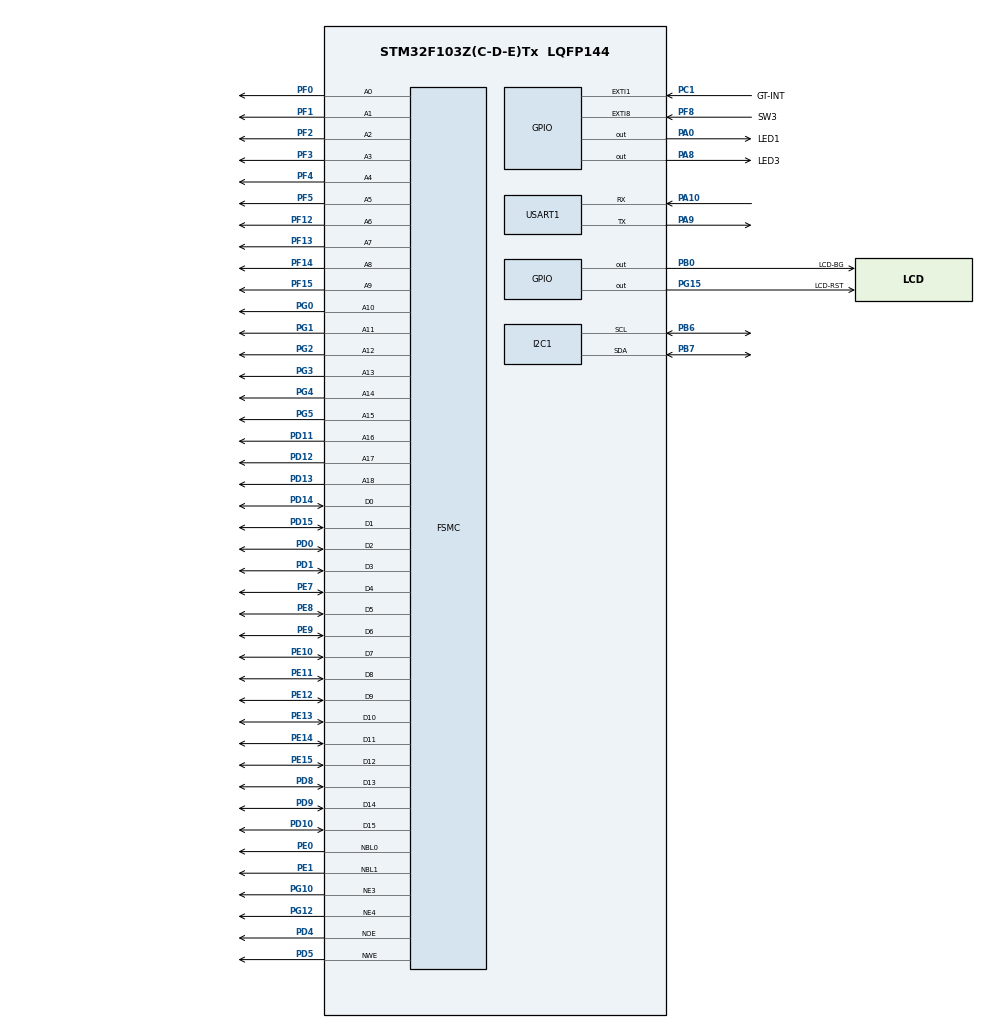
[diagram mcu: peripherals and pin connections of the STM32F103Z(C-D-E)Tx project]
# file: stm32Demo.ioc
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FSMC.AddressSetupTime2=1
FSMC.BusTurnAroundDuration2=0
FSMC.DataSetupTime2=4
FSMC.WriteOperation2=FSMC_WRITE_OPERATION_ENABLE
IWDG.Prescaler=IWDG_PRESCALER_256
IWDG.Reload=312
Mcu.Family=STM32F1
Mcu.Name=STM32F103Z(C-D-E)Tx
Mcu.Package=LQFP144
NVIC.EXTI1_IRQn=true\:0\:0\:false\:false\:true\:true\:true\:true
NVIC.EXTI9_5_IRQn=true\:0\:0\:false\:false\:true\:true\:true\:true
NVIC.PriorityGroup=NVIC_PRIORITYGROUP_4
NVIC.USART1_IRQn=true\:0\:0\:false\:false\:true\:true\:true\:true
OSC_IN.Mode=HSE-External-Oscillator
OSC_IN.Signal=RCC_OSC_IN
OSC_OUT.Mode=HSE-External-Oscillator
OSC_OUT.Signal=RCC_OSC_OUT
PA0-WKUP.GPIO_Label=LED1
PA0-WKUP.PinState=GPIO_PIN_SET
PA0-WKUP.Signal=GPIO_Output
PA10.Mode=Asynchronous
PA10.Signal=USART1_RX
PA13.Mode=Serial_Wire
PA13.Signal=SYS_JTMS-SWDIO
PA14.Mode=Serial_Wire
PA14.Signal=SYS_JTCK-SWCLK
PA8.GPIO_Label=LED3
PA8.PinState=GPIO_PIN_SET
PA8.Signal=GPIO_Output
PA9.Mode=Asynchronous
PA9.Signal=USART1_TX
PB0.GPIO_Label=LCD-BG
PB0.GPIO_PuPd=GPIO_NOPULL
PB0.Signal=GPIO_Output
PB6.Mode=I2C
PB6.Signal=I2C1_SCL
PB7.Mode=I2C
PB7.Signal=I2C1_SDA
PC1.GPIO_Label=GT-INT
PC1.GPIO_ModeDefaultEXTI=GPIO_MODE_IT_FALLING
PC1.GPIO_PuPd=GPIO_PULLUP
PC1.Signal=GPXTI1
PC14-OSC32_IN.Mode=LSE-External-Oscillator
PC14-OSC32_IN.Signal=RCC_OSC32_IN
PC15-OSC32_OUT.Mode=LSE-External-Oscillator
PC15-OSC32_OUT.Signal=RCC_OSC32_OUT
PD0.Signal=FSMC_D2_DA2
PD1.Signal=FSMC_D3_DA3
PD10.Signal=FSMC_D15_DA15
PD11.Signal=FSMC_A16_CLE
PD12.Signal=FSMC_A17_ALE
PD13.Signal=FSMC_A18
PD14.Signal=FSMC_D0_DA0
PD15.Signal=FSMC_D1_DA1
PD4.Signal=FSMC_NOE
PD5.Signal=FSMC_NWE
PD8.Signal=FSMC_D13_DA13
PD9.Signal=FSMC_D14_DA14
PE0.Signal=FSMC_NBL0
PE1.Signal=FSMC_NBL1
PE10.Signal=FSMC_D7_DA7
PE11.Signal=FSMC_D8_DA8
PE12.Signal=FSMC_D9_DA9
PE13.Signal=FSMC_D10_DA10
PE14.Signal=FSMC_D11_DA11
PE15.Signal=FSMC_D12_DA12
PE7.Signal=FSMC_D4_DA4
PE8.Signal=FSMC_D5_DA5
PE9.Signal=FSMC_D6_DA6
PF0.Signal=FSMC_A0
PF1.Signal=FSMC_A1
PF12.Signal=FSMC_A6
PF13.Signal=FSMC_A7
PF14.Signal=FSMC_A8
PF15.Signal=FSMC_A9
PF2.Signal=FSMC_A2
PF3.Signal=FSMC_A3
PF4.Signal=FSMC_A4
PF5.Signal=FSMC_A5
PF8.GPIO_Label=SW3
PF8.GPIO_ModeDefaultEXTI=GPIO_MODE_IT_FALLING
PF8.GPIO_PuPd=GPIO_PULLUP
PF8.Signal=GPXTI8
PG0.Signal=FSMC_A10
PG1.Signal=FSMC_A11
PG10.Mode=NorPsramChipSelect3_2
PG10.Signal=FSMC_NE3
PG12.Mode=NorPsramChipSelect4_1
PG12.Signal=FSMC_NE4
PG15.GPIO_Label=LCD-RST
PG15.GPIO_ModeDefaultOutputPP=GPIO_MODE_OUTPUT_PP
PG15.GPIO_PuPd=GPIO_PULLUP
PG15.Signal=GPIO_Output
PG2.Signal=FSMC_A12
PG3.Signal=FSMC_A13
PG4.Signal=FSMC_A14
PG5.Signal=FSMC_A15
ProjectManager.HeapSize=0x200
ProjectManager.StackSize=0x400
ProjectManager.TargetToolchain=CMake
RCC.AHBFreq_Value=72000000
RCC.APB1CLKDivider=RCC_HCLK_DIV2
RCC.APB1Freq_Value=36000000
RCC.APB1TimFreq_Value=72000000
RCC.APB2Freq_Value=72000000
RCC.APB2TimFreq_Value=72000000
RCC.HCLKFreq_Value=72000000
RCC.PLLMUL=RCC_PLL_MUL9
RCC.PLLSourceVirtual=RCC_PLLSOURCE_HSE
RCC.SYSCLKFreq_VALUE=72000000
RCC.SYSCLKSource=RCC_SYSCLKSOURCE_PLLCLK
RCC.USBFreq_Value=72000000
SH.FSMC_A0.0=FSMC_A0,19b-a2
SH.FSMC_A1.0=FSMC_A1,19b-a2
SH.FSMC_A10.0=FSMC_A10,A10_1
SH.FSMC_A10.1=FSMC_A10,19b-a2
SH.FSMC_A11.0=FSMC_A11,19b-a2
SH.FSMC_A12.0=FSMC_A12,19b-a2
SH.FSMC_A13.0=FSMC_A13,19b-a2
SH.FSMC_A14.0=FSMC_A14,19b-a2
SH.FSMC_A15.0=FSMC_A15,19b-a2
SH.FSMC_A16_CLE.0=FSMC_A16,19b-a2
SH.FSMC_A17_ALE.0=FSMC_A17,19b-a2
SH.FSMC_A18.0=FSMC_A18,19b-a2
SH.FSMC_A2.0=FSMC_A2,19b-a2
SH.FSMC_A3.0=FSMC_A3,19b-a2
SH.FSMC_A4.0=FSMC_A4,19b-a2
SH.FSMC_A5.0=FSMC_A5,19b-a2
SH.FSMC_A6.0=FSMC_A6,19b-a2
SH.FSMC_A7.0=FSMC_A7,19b-a2
SH.FSMC_A8.0=FSMC_A8,19b-a2
SH.FSMC_A9.0=FSMC_A9,19b-a2
SH.FSMC_D0_DA0.0=FSMC_D0,16b-d1
SH.FSMC_D0_DA0.1=FSMC_D0,16b-d2
SH.FSMC_D10_DA10.0=FSMC_D10,16b-d1
SH.FSMC_D10_DA10.1=FSMC_D10,16b-d2
SH.FSMC_D11_DA11.0=FSMC_D11,16b-d1
SH.FSMC_D11_DA11.1=FSMC_D11,16b-d2
SH.FSMC_D12_DA12.0=FSMC_D12,16b-d1
SH.FSMC_D12_DA12.1=FSMC_D12,16b-d2
SH.FSMC_D13_DA13.0=FSMC_D13,16b-d1
SH.FSMC_D13_DA13.1=FSMC_D13,16b-d2
SH.FSMC_D14_DA14.0=FSMC_D14,16b-d1
SH.FSMC_D14_DA14.1=FSMC_D14,16b-d2
SH.FSMC_D15_DA15.0=FSMC_D15,16b-d1
SH.FSMC_D15_DA15.1=FSMC_D15,16b-d2
SH.FSMC_D1_DA1.0=FSMC_D1,16b-d1
SH.FSMC_D1_DA1.1=FSMC_D1,16b-d2
SH.FSMC_D2_DA2.0=FSMC_D2,16b-d1
SH.FSMC_D2_DA2.1=FSMC_D2,16b-d2
SH.FSMC_D3_DA3.0=FSMC_D3,16b-d1
SH.FSMC_D3_DA3.1=FSMC_D3,16b-d2
SH.FSMC_D4_DA4.0=FSMC_D4,16b-d1
SH.FSMC_D4_DA4.1=FSMC_D4,16b-d2
SH.FSMC_D5_DA5.0=FSMC_D5,16b-d1
SH.FSMC_D5_DA5.1=FSMC_D5,16b-d2
SH.FSMC_D6_DA6.0=FSMC_D6,16b-d1
SH.FSMC_D6_DA6.1=FSMC_D6,16b-d2
SH.FSMC_D7_DA7.0=FSMC_D7,16b-d1
SH.FSMC_D7_DA7.1=FSMC_D7,16b-d2
SH.FSMC_D8_DA8.0=FSMC_D8,16b-d1
SH.FSMC_D8_DA8.1=FSMC_D8,16b-d2
SH.FSMC_D9_DA9.0=FSMC_D9,16b-d1
SH.FSMC_D9_DA9.1=FSMC_D9,16b-d2
SH.FSMC_NBL0.0=FSMC_NBL0,2ByteEnable2
SH.FSMC_NBL1.0=FSMC_NBL1,2ByteEnable2
SH.FSMC_NOE.0=FSMC_NOE,Lcd1
SH.FSMC_NOE.1=FSMC_NOE,Sram2
SH.FSMC_NWE.0=FSMC_NWE,Lcd1
SH.FSMC_NWE.1=FSMC_NWE,Sram2
USART1.VirtualMode=VM_ASYNC
VP_IWDG_VS_IWDG.Mode=IWDG_Activate
board=custom

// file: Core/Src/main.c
/* USER CODE BEGIN Header */
/**
 ******************************************************************************
 * @file           : main.c
 * @brief          : Main program body
 ******************************************************************************
 * @attention
 *
 * Copyright (c) 2026 STMicroelectronics.
 * All rights reserved.
 *
 * This software is licensed under terms that can be found in the LICENSE file
 * in the root directory of this software component.
 * If no LICENSE file comes with this software, it is provided AS-IS.
 *
 ******************************************************************************
 */
/* USER CODE END Header */
#include "main.h"
#include "fsmc.h"
#include "gpio.h"
#include "i2c.h"
#include "iwdg.h"
#include "usart.h"

/* USER CODE BEGIN Includes */
#include "IS62WV512.h"
#include "lcd.h"
#include "lv_port_disp.h"
#include "lv_port_indev.h"
#include "lvgl.h"
#include "touch.h"
#include "ui_main.h"
#include <stdio.h>

/* USER CODE END Includes */

void SystemClock_Config(void);

/* USER CODE BEGIN 0 */

int __io_putchar(int ch) {
  HAL_UART_Transmit(&huart1, (uint8_t *)&ch, 1, 10);
  return ch;
}
/* USER CODE END 0 */

int main(void) {

  /* MCU Configuration--------------------------------------------------------*/

  /* Reset of all peripherals, Initializes the Flash interface and the Systick.
   */
  HAL_Init();

  /* Configure the system clock */
  SystemClock_Config();

  /* Initialize all configured peripherals */
  MX_GPIO_Init();
  MX_USART1_UART_Init();
  MX_FSMC_Init();
  MX_I2C1_Init();
  /* MX_IWDG_Init() 移到 USER CODE BEGIN 2 末尾，避免初始化期间看门狗超时 */
  /* USER CODE BEGIN 2 */
  printf("\r\n=== Boot Start ===\r\n");

  /* 初始化外部SRAM时序 */
  printf("[DBG] Before SRAM_Init\r\n");
  if (SRAM_Init() != HAL_OK) {
    printf("[SRAM] Init FAILED!\r\n");
    Error_Handler();
  }
  printf("[SRAM] Init OK\r\n");

  /* LCD初始化 */
  printf("[DBG] Before LCD_Init\r\n");
  HAL_GPIO_WritePin(LCD_BG_GPIO_Port, LCD_BG_Pin, GPIO_PIN_SET); /* 开启背光 */
  LCD_Init();
  LCD_Clear(0x0000); /* 清屏黑色 */
  printf("[LCD] Init OK\r\n");

  /* 触摸初始化 */
  printf("[DBG] Before Touch_Init\r\n");
  uint8_t touch_st = FT5x16_Init();
  if (touch_st == 0) {
    printf("[Touch] FT5x16 Init OK\r\n");
  } else {
    printf("[Touch] FT5x16 Init FAIL code=%u\r\n", touch_st);
  }

  /* LVGL初始化 */
  printf("[DBG] Before lv_init\r\n");
  lv_init();
  printf("[DBG] After lv_init, before tick_set_cb\r\n");
  lv_tick_set_cb(HAL_GetTick); /* 使用HAL_GetTick作为时钟源 */
  printf("[DBG] Before lv_port_disp_init\r\n");
  lv_port_disp_init();         /* 初始化显示驱动 */
  printf("[DBG] Before lv_port_indev_init\r\n");
  lv_port_indev_init();        /* 初始化触摸输入 */
  printf("[LVGL] Init OK, v%d.%d.%d\r\n", LVGL_VERSION_MAJOR,
         LVGL_VERSION_MINOR, LVGL_VERSION_PATCH);

  /* 创建自定义UI界面 */
  printf("[DBG] Before create_temp_ui\r\n");
  create_temp_ui();
  printf("=== Boot Complete ===\r\n");

  /* 所有初始化完成后才启动看门狗 */
  MX_IWDG_Init();
  printf("[IWDG] Watchdog started\r\n");

  /* USER CODE END 2 */

  /* Infinite loop */
  while (1) {

    /* USER CODE BEGIN 3 */
    lv_timer_handler();       /* LVGL事件/重绘处理 */
    HAL_IWDG_Refresh(&hiwdg); /* 喂狗 */
    HAL_Delay(5);             /* ~200Hz调度频率 */
    /* USER CODE END 3 */
  }
}

  void SystemClock_Config(void) {
    RCC_OscInitTypeDef RCC_OscInitStruct = {0};
    RCC_ClkInitTypeDef RCC_ClkInitStruct = {0};

    /** Initializes the RCC Oscillators according to the specified parameters
     * in the RCC_OscInitTypeDef structure.
     */
    RCC_OscInitStruct.OscillatorType =
        RCC_OSCILLATORTYPE_LSI | RCC_OSCILLATORTYPE_HSE;
    RCC_OscInitStruct.HSEState = RCC_HSE_ON;
    RCC_OscInitStruct.HSEPredivValue = RCC_HSE_PREDIV_DIV1;
    RCC_OscInitStruct.HSIState = RCC_HSI_ON;
    RCC_OscInitStruct.LSIState = RCC_LSI_ON;
    RCC_OscInitStruct.PLL.PLLState = RCC_PLL_ON;
    RCC_OscInitStruct.PLL.PLLSource = RCC_PLLSOURCE_HSE;
    RCC_OscInitStruct.PLL.PLLMUL = RCC_PLL_MUL9;
    if (HAL_RCC_OscConfig(&RCC_OscInitStruct) != HAL_OK) {
      Error_Handler();
    }

    /** Initializes the CPU, AHB and APB buses clocks
     */
    RCC_ClkInitStruct.ClockType = RCC_CLOCKTYPE_HCLK | RCC_CLOCKTYPE_SYSCLK |
                                  RCC_CLOCKTYPE_PCLK1 | RCC_CLOCKTYPE_PCLK2;
    RCC_ClkInitStruct.SYSCLKSource = RCC_SYSCLKSOURCE_PLLCLK;
    RCC_ClkInitStruct.AHBCLKDivider = RCC_SYSCLK_DIV1;
    RCC_ClkInitStruct.APB1CLKDivider = RCC_HCLK_DIV2;
    RCC_ClkInitStruct.APB2CLKDivider = RCC_HCLK_DIV1;

    if (HAL_RCC_ClockConfig(&RCC_ClkInitStruct, FLASH_LATENCY_2) != HAL_OK) {
      Error_Handler();
    }
  }

  /**
   * @brief  This function is executed in case of error occurrence.
   * @retval None
   */
  void Error_Handler(void) {
    /* USER CODE BEGIN Error_Handler_Debug */
    /* User can add his own implementation to report the HAL error return state
     */
    __disable_irq();
    while (1) {
    }
    /* USER CODE END Error_Handler_Debug */
  }
#ifdef USE_FULL_ASSERT
  /**
   * @brief  Reports the name of the source file and the source line number
   *         where the assert_param error has occurred.
   * @param  file: pointer to the source file name
   * @param  line: assert_param error line source number
   * @retval None
   */
  void assert_failed(uint8_t *file, uint32_t line) {
    /* USER CODE BEGIN 6 */
    /* User can add his own implementation to report the file name and line
       number, ex: printf("Wrong parameters value: file %s on line %d\r\n",
       file, line) */
    /* USER CODE END 6 */
  }
#endif /* USE_FULL_ASSERT */
